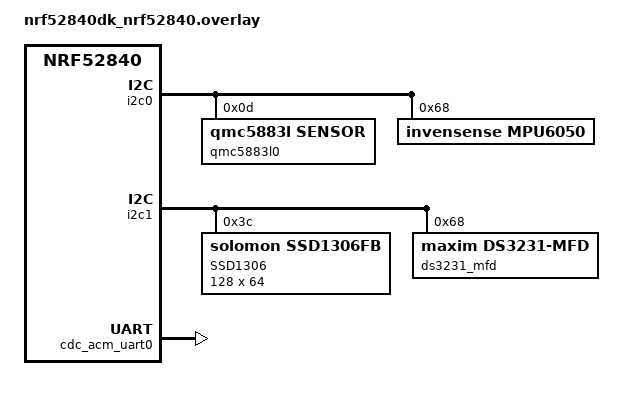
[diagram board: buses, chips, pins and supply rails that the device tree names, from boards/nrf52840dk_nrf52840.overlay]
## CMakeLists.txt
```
cmake_minimum_required(VERSION 3.20.0)

set(ZEPHYR_EXTRA_MODULES "${CMAKE_SOURCE_DIR}/modules/drivers")

find_package(Zephyr REQUIRED HINTS $ENV{ZEPHYR_BASE})

project(smartwatch_test) 

include(${PROJECT_SOURCE_DIR}/src/app/usb_common/usb_common.cmake)

add_subdirectory(src/app/src)
add_subdirectory(src/app/app_update)

target_sources(app PRIVATE src/main.c
                )

target_include_directories(app PRIVATE src/app/include)
```

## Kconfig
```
#this Kconfig is for src directory , external components/modules can be compiled without it
rsource "src/app/src/Kconfig"
rsource "src/app/app_update/Kconfig"

source "Kconfig"
```

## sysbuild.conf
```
# Enable MCUboot bootloader support
SB_CONFIG_BOOTLOADER_MCUBOOT=y
SB_CONFIG_BOOT_SIGNATURE_KEY_FILE="/home/mod/my_private_key.pem"
SB_CONFIG_PARTITION_MANAGER=n
```

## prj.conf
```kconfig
# 1. if Kconfig symbols of board defconfig file needs to modify then use this prj.conf 
# 2. pristine build reset/remove custom K config options so enable them in prj.conf 

#Enable QMC sensor
CONFIG_ENABLE_QMC5883L_SENSOR=y
CONFIG_QMC5883L_RANGE=2000
CONFIG_QMC5883L_ODR=50
CONFIG_QMC5883L_OSR=128

#Enable I2C
CONFIG_I2C=y
CONFIG_SENSOR=y

#Enable GPIO and logging, use logging instead of printk
CONFIG_GPIO=y
#disable logging to use zephyr shell and run commands on shell
CONFIG_LOG=y
#Default level, sets the logging level used by modules that are not setting their own logging level
# log level 0:OFF, 1: ERROR, 2: WARNING ,3: INFO, 4: DEBUG
#CONFIG_LOG_DEFAULT_LEVEL=3    

#Logging in app_sources
CONFIG_ZSW_APP_LOG_LEVEL_WRN=y

#qmc module logging,qmc sensor and zsw app logging set to warning, for usb and ble ota , set to info
CONFIG_SENSOR_LOG_LEVEL_WRN=y

# Enable floating point support for the printf
CONFIG_CBPRINTF_FP_SUPPORT=y

# Enable (FPU) for calculations 
#CONFIG_FPU=y

# NVS
CONFIG_FLASH=y
CONFIG_FLASH_INIT_PRIORITY=40
CONFIG_FLASH_MAP=y
CONFIG_MPU_ALLOW_FLASH_WRITE=y
CONFIG_FLASH_PAGE_LAYOUT=y
CONFIG_STREAM_FLASH=y
CONFIG_STREAM_FLASH_ERASE=y
CONFIG_FLASH_MAP_LABELS=y

#Enable settings to save calibation data of qmc
CONFIG_SETTINGS=y
CONFIG_NVS=y

#Enable own qmc calibration driver,temporay option 
CONFIG_ENABLE_QMC_CALIBRATION=n
CONFIG_USE_RAW_MAGNETOMETER_DATA=y

#Enable built in driver for mpu6050, can enable options in menuconfig but they reset on pristine build
CONFIG_MPU6050=y
CONFIG_MPU6050_TRIGGER_NONE=y
#CONFIG_MPU6050_GYRO_FS=2000  #update version


#Enbale own IMU driver
CONFIG_ENABLE_IMU=y

#update the log buffer size
CONFIG_LOG_BUFFER_SIZE=2048


#Enable built-in driver of ds3231
CONFIG_RTC=y
CONFIG_RTC_DS3231=y
CONFIG_COUNTER=n

#Enable RTC app code
CONFIG_ENABLE_RTC_TIME=y

#Enable display driver
CONFIG_DISPLAY=y
CONFIG_SSD1306=y
CONFIG_DISPLAY_LOG_LEVEL_ERR=y

CONFIG_LV_Z_MEM_POOL_SIZE=16384

#Enable shell for debugging only
CONFIG_LV_Z_SHELL=n
CONFIG_SHELL=n      

CONFIG_LVGL=y
CONFIG_LV_USE_LOG=y
CONFIG_LV_USE_LABEL=y
CONFIG_LV_TXT_ENC_UTF8=y
CONFIG_LV_USE_ARC=n

# LVGL Size optimizations
CONFIG_LV_CONF_MINIMAL=y
CONFIG_LV_LABEL_TEXT_SELECTION=n
CONFIG_LV_LABEL_LONG_TXT_HINT=n

CONFIG_LV_Z_BITS_PER_PIXEL=1

#CONFIG_LV_LOG_LEVEL_TRACE=y
CONFIG_LV_LOG_PRINTF=y

CONFIG_MPU_LOG_LEVEL_OFF=y                  # hides all those mpu_configure_region lines

CONFIG_MAIN_STACK_SIZE=3072

CONFIG_LV_Z_VDB_SIZE=16
CONFIG_LV_Z_FULL_REFRESH=n

CONFIG_LV_FONT_UNSCII_8=y
CONFIG_LV_FONT_DEFAULT_UNSCII_8=y
CONFIG_LV_FONT_MONTSERRAT_14=n
CONFIG_LV_COLOR_DEPTH_1=y 

CONFIG_LV_Z_BUFFER_ALLOC_DYNAMIC=y


CONFIG_ASSERT=y
CONFIG_ASSERT_NO_COND_INFO=y
CONFIG_ASSERT_NO_MSG_INFO=y
CONFIG_ASSERT_VERBOSE=n
CONFIG_BT_ASSERT_VERBOSE=n   # for optimizing the code size

CONFIG_BT=y
CONFIG_BT_PERIPHERAL=y
CONFIG_BT_DEVICE_NAME="Smart_Watch"

CONFIG_SYSTEM_WORKQUEUE_STACK_SIZE=2048

CONFIG_MCUMGR=y
CONFIG_MCUMGR_GRP_IMG=y  #part of app prj.conf as dfu performed from the application,if serial recovery it'll be a part of bootloader prj.conf
CONFIG_ZCBOR=y         # for encode/decode of CBOR
CONFIG_NET_BUF=y

CONFIG_MCUMGR_GRP_OS=y    # enables the OS group in mcumgr, allow CLI tools and aps to execute commands
CONFIG_MCUMGR_GRP_OS_BOOTLOADER_INFO=y  # enables an application to share info about bootloader(version etc) via MCUmgr SMP
CONFIG_IMG_MANAGER=y       # enable FOTA and DFU image management
CONFIG_STREAM_FLASH=y      # enable stream flash, write data to flash using continuous stream of bytes
CONFIG_BOOTLOADER_MCUBOOT=y


# Allow for large Bluetooth data packets.
CONFIG_BT_L2CAP_TX_MTU=498

# BLE packet type(ACL,Isochronous etc)
CONFIG_BT_BUF_ACL_RX_SIZE=502
CONFIG_BT_BUF_ACL_TX_SIZE=502    
CONFIG_BT_CTLR_DATA_LENGTH_MAX=251

# Enable the Bluetooth mcumgr transport (unauthenticated).
CONFIG_MCUMGR_TRANSPORT_BT=y
CONFIG_MCUMGR_TRANSPORT_BT_CONN_PARAM_CONTROL=y #connection parameter control if SMP is used for DFU over ble

# Enable the mcumgr Packet Reassembly feature over Bluetooth and its configuration dependencies.
# MCUmgr buffer size is optimized to fit one SMP packet divided into five Bluetooth Write Commands,
# transmitted with the maximum possible MTU value: 498 bytes.
CONFIG_MCUMGR_TRANSPORT_BT_REASSEMBLY=y
CONFIG_MCUMGR_TRANSPORT_NETBUF_SIZE=2475
CONFIG_MCUMGR_GRP_OS_MCUMGR_PARAMS=y
CONFIG_MCUMGR_TRANSPORT_WORKQUEUE_STACK_SIZE=4608

# Disable Bluetooth ping support
CONFIG_BT_CTLR_LE_PING=n

CONFIG_MCUMGR_TRANSPORT_BT_PERM_RW_AUTHEN=y

#dependencies for dfu over USB CDC ACM
CONFIG_USB_DEVICE_STACK_NEXT=y
CONFIG_STDOUT_CONSOLE=y
CONFIG_SERIAL=y
CONFIG_UART_LINE_CTRL=y
CONFIG_USBD_CDC_ACM_CLASS=y

CONFIG_USBD_LOG_LEVEL_ERR=y
CONFIG_UDC_DRIVER_LOG_LEVEL_ERR=y
CONFIG_USBD_CDC_ACM_LOG_LEVEL_OFF=y

CONFIG_SAMPLE_USBD_PID=0x0001
CONFIG_SAMPLE_USBD_PRODUCT="USBD CDC ACM"

# Configure MCUMGR transport to UART
CONFIG_UART_MCUMGR=y
CONFIG_MCUMGR_TRANSPORT_UART=y

# Configure dependencies for CONFIG_MCUMGR  
CONFIG_CRC=y

# Configure dependencies for CONFIG_MCUMGR_TRANSPORT_UART 
CONFIG_BASE64=y

#custom Kconfig options to enable dfu: TODOs separate BLE support from DFU
CONFIG_DFU_SUPPORT_ENABLE=y

#include cJSON for parsing
CONFIG_CJSON_LIB=y
CONFIG_NEWLIB_LIBC=y
CONFIG_NEWLIB_LIBC_FLOAT_PRINTF=y
CONFIG_NEWLIB_LIBC_NANO=n

CONFIG_CBPRINTF_FP_SUPPORT=y

#Update Data Length and MTU
CONFIG_BT_USER_DATA_LEN_UPDATE=y
#CONFIG_BT_CTLR_DATA_LENGTH_MAX=251
#CONFIG_BT_BUF_ACL_RX_SIZE=251
#CONFIG_BT_BUF_ACL_TX_SIZE=251
#CONFIG_BT_L2CAP_TX_MTU=247

CONFIG_BT_GATT_CLIENT=y

# Enable the NUS service
CONFIG_BT_NUS=y

CONFIG_HEAP_MEM_POOL_SIZE=2048

CONFIG_BT_MAX_CONN=1
CONFIG_BT_MAX_PAIRED=1
```

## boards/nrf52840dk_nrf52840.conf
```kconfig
#Enable QSPI driver NOR flash memory driver 
CONFIG_NORDIC_QSPI_NOR=y   
```

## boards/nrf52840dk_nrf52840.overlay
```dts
/delete-node/ &boot_partition;
/delete-node/ &slot0_partition;
/delete-node/ &slot1_partition;


/ {
    aliases {
        qmc5883l-dev = &qmc5883l0;   /* alias = qmc5883l-dev -> becomes _ in C macros */
        mpu6050-dev = &mpu6050;
        rtc = &ds3231_rtc;
    };

    chosen {
		zephyr,display = &ssd1306;

        /* Choose CDC ACM for mcumgr */
        zephyr,uart-mcumgr = &cdc_acm_uart0;  /*virtual uart is used for mcumgr, in same way could also be used for console */
	};
};

&i2c0 {                 /*scl = 27 , sda =26 */
    qmc5883l0: qmc5883l@d {      /* node-label : node-name, version update */
        compatible = "qmc5883l,sensor";
        reg = <0x0D>;
    };

    mpu6050: mpu6050@68 {
		compatible = "invensense,mpu6050";
		reg = <0x68>;
		status = "okay";
	};
};

&i2c1 {
    status = "okay";        /* enable the bus,i2c1 SDA= 30, SCL =31*/

   ssd1306: ssd1306@3c {
		compatible = "solomon,ssd1306fb";
		reg = <0x3c>;
		label = "SSD1306";
		width  = <128>;
		height = <64>;
		segment-offset  = <0>;
		page-offset     = <0>;
		display-offset  = <10>;
		multiplex-ratio = <63>;
		segment-remap;
		com-invdir;
        com-sequential;
		prechargep = <0x11>;
	};

    ds3231_mfd: ds3231@68 {
        compatible = "maxim,ds3231-mfd";
        reg = <0x68>;
        status = "okay";

        /* The RTC is now a child of the MFD node */
        ds3231_rtc: rtc {
            compatible = "maxim,ds3231-rtc";
            status = "okay";
            isw-gpios = <&gpio0 0 (GPIO_PULL_UP | GPIO_ACTIVE_LOW)>;
        };

        /* Optional: Enable the internal temperature sensor */
        ds3231_sensor: sensor {
            compatible = "maxim,ds3231-sensor";
            status = "okay";
        };

    };

};

&zephyr_udc0 {
	cdc_acm_uart0: cdc_acm_uart0 {
		compatible = "zephyr,cdc-acm-uart"; /*cdc acm virtual uart emulate over usb, it has no connection with hardware uart */
		label = "Zephyr USB CDC-ACM";
	};
};

&flash0 {
	partitions {

		ranges;
		#address-cells = <1>;
		#size-cells = <1>;

		boot_partition: partition@0 {
			compatible = "zephyr,mapped-partition";  /* CPU mapped address indicate that it is a part of SoC*/
			label = "mcuboot";
			reg = <0x000000000 0x00010000>;
		};

		slot0_partition: partition@10000 {
			compatible = "zephyr,mapped-partition";
			label = "image-0";
			reg = <0x000010000 0x0000e8000>;
		};
	};
};

/* STEP 2.1 - Add external flash to board conf file */
&mx25r64 {
	partitions {
		compatible = "fixed-partitions";    /*fixed partition used for external flash, it is external to SoC */
		#address-cells = <1>;       /* 1 represents 32-bit address, 2 (64-bit address) */
		#size-cells = <1>;

		slot1_partition: partition@0 {
			label = "image-1";
			reg = <0x000000000 0x0000e8000>;
		};
	};
};
```

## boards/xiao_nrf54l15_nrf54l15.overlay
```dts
/ {
    aliases {
        qmc5883l-dev = &qmc5883l0;   /* alias = qmc5883l-dev -> becomes _ in C macros */
        rtc = &ds3231_rtc;
    };

    chosen {
		zephyr,display = &ssd1306;
	};
};

&xiao_i2c {
    status = "okay";        /* enable the bus,i2c1 SDA= 30, SCL =31*/
	
   ssd1306: ssd1306@3c {
		compatible = "solomon,ssd1306fb";
		reg = <0x3c>;
		label = "SSD1306";
		width  = <128>;
		height = <64>;
		segment-offset  = <0>;
		page-offset     = <0>;
		display-offset  = <10>;
		multiplex-ratio = <63>;
		segment-remap;
		com-invdir;
        com-sequential;
		prechargep = <0x11>;
	};

    ds3231_mfd: ds3231@68 {
        compatible = "maxim,ds3231-mfd";
        reg = <0x68>;
        status = "okay";

        /* The RTC is now a child of the MFD node */
        ds3231_rtc: rtc {
            compatible = "maxim,ds3231-rtc";
            status = "okay";
            isw-gpios = <&gpio0 0 (GPIO_PULL_UP | GPIO_ACTIVE_LOW)>;
        };
        
        /* Optional: Enable the internal temperature sensor */
        ds3231_sensor: sensor {
            compatible = "maxim,ds3231-sensor";
            status = "okay";
        };

    };  
    
    qmc5883l0: qmc5883l@0d {
        compatible = "qmc5883l,sensor";
        reg = <0x0D>;
    };

};


 
```

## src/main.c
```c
#include <zephyr/kernel.h>
#include <zephyr/drivers/gpio.h>
#include <stdio.h>
#include <zephyr/device.h>
#include <zephyr/devicetree.h>
#include <zephyr/drivers/sensor.h>
#include <zephyr/drivers/sensor_data_types.h>
#include "magnetometer.h"
#include "imu.h"
#include "sensor_fusion.h"
#include "rtc_time.h"
#include "watch_display.h"
#include "app_update.h"
#include <zephyr/logging/log.h>

LOG_MODULE_REGISTER(main);

#define SLEEP_TIME_MS 100U

int main(void)
{       int ret;
        char buff1[30] = {0};
        char buff2[20] = {0};

        const char* mag_direction = NULL;

        #ifdef CONFIG_ENABLE_QMC5883L_SENSOR
        

        #ifdef CONFIG_ENABLE_QMC_CALIBRATION
        int64_t start = k_uptime_get();
        #endif

         /*wait for serial display*/
        k_sleep(K_MSEC(1000));

        #ifdef CONFIG_DFU_SUPPORT_ENABLE
        ret = app_update_init(); /*init usb and ble for dfu*/
        if (ret != 0)
        {
                LOG_INF("DFU init failed");
                return 0;
        }
        #endif
        
        ret = init_magnetometer();
         if (ret!=0)
        {
                LOG_INF("magnetometer init fail");
                return 0;
        }

        #ifdef CONFIG_ENABLE_QMC_CALIBRATION
        /*test calibration of qmc sensor*/
        ret = start_magn_calibration();
        if(ret!=0){
                printk("calibration start fail\n");
                return 0;
        } 

        /*calibrate for 50s*/
        while (k_uptime_get() - start < 50000) {
        ret = read_magn_with_calibration(&mag_x, &mag_y, &mag_z); /*TODO: revist as no need of pass parameters here as during calibration , values of sensor are not updated , just max and min values are updated*/
        if(ret!=0){
                printk("unable to perform calibration\n");
                return 0;
        } 
        k_sleep(K_MSEC(100));
        }
        zsw_magnetometer_stop_calibration();
        #endif

        #endif
        #ifdef CONFIG_ENABLE_IMU
        
        k_msleep(150);  // wait 150ms after init

        ret = init_mpu6050();
        if (ret!=0)
        {
                LOG_INF("mpu6050 init failed");
                return 0;
        }
       
        sensor_fusion_init();

        #endif

        #ifdef CONFIG_ENABLE_RTC_TIME
        /*init rtc and set initial time*/
        ret = ds3231_rtc_init();
        if (ret!=0)
        {
                LOG_INF("rtc init failed");
                return 0;
        }   
        #endif
        
        ret = watch_display_init();  /*init oled display*/
        if (ret!=0)
        {
                LOG_INF("display init failed");
                return 0;
        }

        /*create display screen via lvgl*/
        create_screen1();  
        
        #ifdef CONFIG_ENABLE_IMU
        create_screen2();
        #endif

        /* load screen1 initally*/
        lv_scr_load(screen1);

        lv_timer_handler();
       
        while(1)
        { 

                #ifdef CONFIG_ENABLE_IMU
                mag_direction = get_direction();
                k_sleep(K_MSEC(1000)); //k_sleep(K_MSEC(10)); //used to test sensor fusion
              
                #endif

                #ifdef CONFIG_ENABLE_RTC_TIME
                rtc_get_date_time();
                #endif

                /*display time on watch*/
                sprintf(buff1, "%02d:%02d:%02d",tm.tm_hour, tm.tm_min, tm.tm_sec);
                lv_label_set_text(rtc_label, buff1);

                k_sleep(K_MSEC(100));
                
                #ifdef CONFIG_ENABLE_IMU
                switch_screens();
                /*display direction*/
                sprintf(buff2,"%s", mag_direction);
                lv_label_set_text(direction_label, buff2);
                #endif
                lv_timer_handler();

                k_sleep(K_MSEC(1000));
        }
        
        return 0;

}

/*target : print RTC time on one screen and magnetic direction on screen2

 1. get RTC time and display
 2. get direction and display
 
 
 int main()
 {
 if enable qmc (qmc init)
 if qmc calibration enable(perform calibration)
 if enable imu (init mpu , init sensor fusion)
 if rtc enable : rtc init

 init zephyr display
 turn off display
 create screen1 and 2

 load screen1
 lv time handler

   while(1)
   {
     read rtc and get direction

     set lvgl text for rtc and direction
     
   }
 
 } 
   
 create screen1()
 { 
    create screen and dynamic label

 }
 
 */
```
